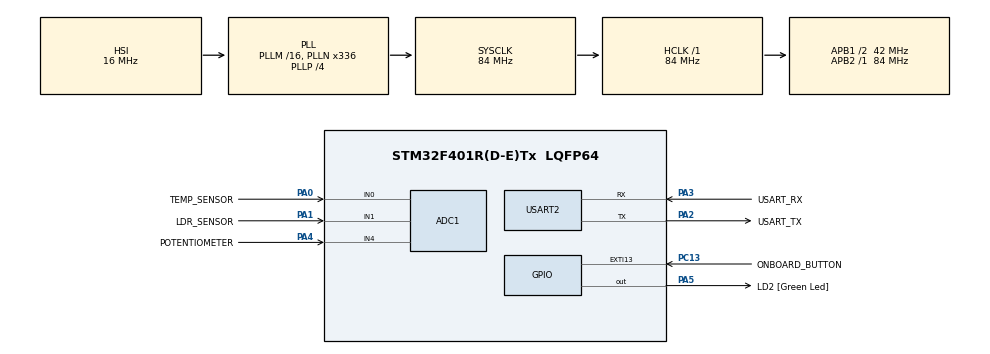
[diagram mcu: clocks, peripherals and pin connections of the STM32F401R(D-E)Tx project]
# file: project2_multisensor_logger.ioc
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ADC1.Channel-0\#ChannelRegularConversion=ADC_CHANNEL_0
ADC1.Channel-1\#ChannelRegularConversion=ADC_CHANNEL_1
ADC1.Channel-2\#ChannelRegularConversion=ADC_CHANNEL_4
ADC1.NbrOfConversion=3
ADC1.NbrOfConversionFlag=1
ADC1.Rank-0\#ChannelRegularConversion=1
ADC1.Rank-1\#ChannelRegularConversion=2
ADC1.Rank-2\#ChannelRegularConversion=3
ADC1.SamplingTime-0\#ChannelRegularConversion=ADC_SAMPLETIME_84CYCLES
ADC1.SamplingTime-1\#ChannelRegularConversion=ADC_SAMPLETIME_84CYCLES
ADC1.SamplingTime-2\#ChannelRegularConversion=ADC_SAMPLETIME_84CYCLES
ADC1.ScanConvMode=ENABLE
ADC1.master=1
Mcu.Family=STM32F4
Mcu.Name=STM32F401R(D-E)Tx
Mcu.Package=LQFP64
NVIC.EXTI15_10_IRQn=true\:0\:0\:false\:false\:true\:true\:true\:true
NVIC.PriorityGroup=NVIC_PRIORITYGROUP_4
NVIC.TIM2_IRQn=true\:0\:0\:false\:false\:true\:true\:true\:true
PA0-WKUP.GPIO_Label=TEMP_SENSOR
PA0-WKUP.Signal=ADCx_IN0
PA1.GPIO_Label=LDR_SENSOR
PA1.Signal=ADCx_IN1
PA13.GPIO_Label=TMS
PA13.Mode=Trace_Asynchronous_SW
PA13.Signal=SYS_JTMS-SWDIO
PA14.GPIO_Label=TCK
PA14.Mode=Trace_Asynchronous_SW
PA14.Signal=SYS_JTCK-SWCLK
PA2.GPIO_Label=USART_TX
PA2.GPIO_Mode=GPIO_MODE_AF_PP
PA2.GPIO_PuPd=GPIO_NOPULL
PA2.GPIO_Speed=GPIO_SPEED_FREQ_LOW
PA2.Mode=Asynchronous
PA2.Signal=USART2_TX
PA3.GPIO_Label=USART_RX
PA3.GPIO_Mode=GPIO_MODE_AF_PP
PA3.GPIO_PuPd=GPIO_NOPULL
PA3.GPIO_Speed=GPIO_SPEED_FREQ_LOW
PA3.Mode=Asynchronous
PA3.Signal=USART2_RX
PA4.GPIO_Label=POTENTIOMETER
PA4.Signal=ADCx_IN4
PA5.GPIO_Label=LD2 [Green Led]
PA5.GPIO_Mode=GPIO_MODE_OUTPUT_PP
PA5.GPIO_PuPd=GPIO_NOPULL
PA5.GPIO_Speed=GPIO_SPEED_FREQ_LOW
PA5.Signal=GPIO_Output
PB3.GPIO_Label=SWO
PB3.Mode=Trace_Asynchronous_SW
PB3.Signal=SYS_JTDO-SWO
PC13-ANTI_TAMP.GPIO_Label=ONBOARD_BUTTON
PC13-ANTI_TAMP.Signal=GPXTI13
PC14-OSC32_IN.Mode=LSE-External-Oscillator
PC14-OSC32_IN.Signal=RCC_OSC32_IN
PC15-OSC32_OUT.Mode=LSE-External-Oscillator
PC15-OSC32_OUT.Signal=RCC_OSC32_OUT
PH0\ -\ OSC_IN.Mode=HSE-External-Clock-Source
PH0\ -\ OSC_IN.Signal=RCC_OSC_IN
PH1\ -\ OSC_OUT.Mode=HSE-External-Clock-Source
PH1\ -\ OSC_OUT.Signal=RCC_OSC_OUT
ProjectManager.HeapSize=0x200
ProjectManager.StackSize=0x400
ProjectManager.TargetToolchain=STM32CubeIDE
RCC.48MHZClocksFreq_Value=48000000
RCC.AHBFreq_Value=84000000
RCC.APB1CLKDivider=RCC_HCLK_DIV2
RCC.APB1Freq_Value=42000000
RCC.APB1TimFreq_Value=84000000
RCC.APB2Freq_Value=84000000
RCC.APB2TimFreq_Value=84000000
RCC.CortexFreq_Value=84000000
RCC.HCLKFreq_Value=84000000
RCC.HSE_VALUE=8000000
RCC.HSI_VALUE=16000000
RCC.PLLN=336
RCC.PLLP=RCC_PLLP_DIV4
RCC.PLLQ=7
RCC.SYSCLKFreq_VALUE=84000000
RCC.SYSCLKSource=RCC_SYSCLKSOURCE_PLLCLK
RCC.VCOOutputFreq_Value=336000000
SH.ADCx_IN0.0=ADC1_IN0,IN0
SH.ADCx_IN1.0=ADC1_IN1,IN1
SH.ADCx_IN4.0=ADC1_IN4,IN4
TIM2.Period=2499
TIM2.Prescaler=8399
USART2.VirtualMode=VM_ASYNC
VP_TIM2_VS_ClockSourceINT.Mode=Internal
board=NUCLEO-F401RE

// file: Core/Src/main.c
/* USER CODE BEGIN Header */
/**
  ******************************************************************************
  * @file           : main.c
  * @brief          : Main program body
  ******************************************************************************
  * @attention
  *
  * Copyright (c) 2026 STMicroelectronics.
  * All rights reserved.
  *
  * This software is licensed under terms that can be found in the LICENSE file
  * in the root directory of this software component.
  * If no LICENSE file comes with this software, it is provided AS-IS.
  *
  ******************************************************************************
  */
/* USER CODE END Header */
#include "main.h"

/* USER CODE BEGIN Includes */
#include <stdio.h>
/* USER CODE END Includes */

/* USER CODE BEGIN PD */
#define FILTER_SIZE 5 // use last 5 readings
/* USER CODE END PD */

ADC_HandleTypeDef hadc1;

TIM_HandleTypeDef htim2;

UART_HandleTypeDef huart2;

/* USER CODE BEGIN PV */
volatile uint32_t temperature_raw = 0;// raw readings from ADC
volatile float temperature_c = 0.0f;
volatile uint32_t light_raw = 0;
volatile uint32_t setpoint_raw = 0;
volatile float setpoint_c = 0.0f;

uint32_t temperature_samples[FILTER_SIZE] = {0};// saved readings for averaging
uint32_t light_samples[FILTER_SIZE] = {0};
uint32_t setpoint_samples[FILTER_SIZE] = {0};

uint8_t filter_index = 0;
uint8_t filter_count = 0;

uint32_t temperature_filtered_raw = 0;
uint32_t light_filtered_raw = 0;
uint32_t setpoint_filtered_raw = 0;

float temperature_filtered_c = 0.0f;
float setpoint_filtered_c = 0.0f;

volatile uint8_t sample_rate_mode = 0;// button changes between slow, medium and fast
volatile uint32_t sample_interval_ms = 2000;
volatile uint32_t last_button_press_ms = 0;

volatile uint8_t sample_due = 1;// timer tells main loop when to sample
volatile uint8_t timer_tick_count = 0;
/* USER CODE END PV */

void SystemClock_Config(void);
static void MX_GPIO_Init(void);
static void MX_USART2_UART_Init(void);
static void MX_ADC1_Init(void);
static void MX_TIM2_Init(void);

/* USER CODE BEGIN 0 */
uint32_t moving_average(uint32_t samples[], uint8_t count)// adds readings together then divides by amount
{
    uint32_t total = 0;

    for (uint8_t i = 0; i < count; i++)
    {
        total += samples[i];
    }

    return total / count;
}
/* USER CODE END 0 */

int main(void)
{

  /* MCU Configuration--------------------------------------------------------*/

  /* Reset of all peripherals, Initializes the Flash interface and the Systick. */
  HAL_Init();

  /* Configure the system clock */
  SystemClock_Config();

  /* Initialize all configured peripherals */
  MX_GPIO_Init();
  MX_USART2_UART_Init();
  MX_ADC1_Init();
  MX_TIM2_Init();
  /* USER CODE BEGIN 2 */
  HAL_TIM_Base_Start_IT(&htim2);// start the 250 ms timer interrupt
  printf("timestamp_ms,temp_raw_c,temp_filtered_c,light_raw,light_filtered,setpoint_raw_c,setpoint_filtered_c\r\n");
  /* USER CODE END 2 */

  /* Infinite loop */
  /* USER CODE BEGIN WHILE */
  while (1)
  {
	  if (sample_due)// only read sensors when timer says it is time
	  {
	      sample_due = 0;// reset flag so this only happens once per timer request

	  HAL_ADC_Start(&hadc1);// read temp, light, then potentiometer

	  HAL_ADC_PollForConversion(&hadc1, 10);
	  temperature_raw = HAL_ADC_GetValue(&hadc1);

	  HAL_ADC_PollForConversion(&hadc1, 10);
	  light_raw = HAL_ADC_GetValue(&hadc1);

	  HAL_ADC_PollForConversion(&hadc1, 10);
	  setpoint_raw = HAL_ADC_GetValue(&hadc1);

	  setpoint_c = 15.0f + ((setpoint_raw * 20.0f) / 4095.0f);
	  temperature_c = ((temperature_raw * 3.3f / 4095.0f) - 0.5f) * 100.0f;

	  HAL_ADC_Stop(&hadc1);

	  temperature_samples[filter_index] = temperature_raw;// save new readings into the averaging arrays
	  light_samples[filter_index] = light_raw;
	  setpoint_samples[filter_index] = setpoint_raw;

	  if (filter_count < FILTER_SIZE)
	  {
	      filter_count++;
	  }

	  temperature_filtered_raw = moving_average(temperature_samples, filter_count);
	  light_filtered_raw = moving_average(light_samples, filter_count);
	  setpoint_filtered_raw = moving_average(setpoint_samples, filter_count);

	  temperature_filtered_c = ((temperature_filtered_raw * 3.3f / 4095.0f) - 0.5f) * 100.0f;
	  setpoint_filtered_c = 15.0f + ((setpoint_filtered_raw * 20.0f) / 4095.0f);

	  if (temperature_filtered_c > setpoint_filtered_c)// LED on if actual temp is above chosen setpoint
	  {
	      HAL_GPIO_WritePin(LD2_GPIO_Port, LD2_Pin, GPIO_PIN_SET);
	  }
	  else
	  {
	      HAL_GPIO_WritePin(LD2_GPIO_Port, LD2_Pin, GPIO_PIN_RESET);
	  }

	  filter_index++;

	  if (filter_index >= FILTER_SIZE)
	  {
	      filter_index = 0;
	  }
	  // send one CSV row to Tera Term
	  printf("%lu,%.1f,%.1f,%lu,%lu,%.1f,%.1f\r\n",(unsigned long)HAL_GetTick(),temperature_c,temperature_filtered_c,(unsigned long)light_raw,(unsigned long)light_filtered_raw,setpoint_c,setpoint_filtered_c);
	  }
    /* USER CODE END WHILE */

  }
}

void SystemClock_Config(void)
{
  RCC_OscInitTypeDef RCC_OscInitStruct = {0};
  RCC_ClkInitTypeDef RCC_ClkInitStruct = {0};

  /** Configure the main internal regulator output voltage
  */
  __HAL_RCC_PWR_CLK_ENABLE();
  __HAL_PWR_VOLTAGESCALING_CONFIG(PWR_REGULATOR_VOLTAGE_SCALE2);

  /** Initializes the RCC Oscillators according to the specified parameters
  * in the RCC_OscInitTypeDef structure.
  */
  RCC_OscInitStruct.OscillatorType = RCC_OSCILLATORTYPE_HSI;
  RCC_OscInitStruct.HSIState = RCC_HSI_ON;
  RCC_OscInitStruct.HSICalibrationValue = RCC_HSICALIBRATION_DEFAULT;
  RCC_OscInitStruct.PLL.PLLState = RCC_PLL_ON;
  RCC_OscInitStruct.PLL.PLLSource = RCC_PLLSOURCE_HSI;
  RCC_OscInitStruct.PLL.PLLM = 16;
  RCC_OscInitStruct.PLL.PLLN = 336;
  RCC_OscInitStruct.PLL.PLLP = RCC_PLLP_DIV4;
  RCC_OscInitStruct.PLL.PLLQ = 7;
  if (HAL_RCC_OscConfig(&RCC_OscInitStruct) != HAL_OK)
  {
    Error_Handler();
  }

  /** Initializes the CPU, AHB and APB buses clocks
  */
  RCC_ClkInitStruct.ClockType = RCC_CLOCKTYPE_HCLK|RCC_CLOCKTYPE_SYSCLK
                              |RCC_CLOCKTYPE_PCLK1|RCC_CLOCKTYPE_PCLK2;
  RCC_ClkInitStruct.SYSCLKSource = RCC_SYSCLKSOURCE_PLLCLK;
  RCC_ClkInitStruct.AHBCLKDivider = RCC_SYSCLK_DIV1;
  RCC_ClkInitStruct.APB1CLKDivider = RCC_HCLK_DIV2;
  RCC_ClkInitStruct.APB2CLKDivider = RCC_HCLK_DIV1;

  if (HAL_RCC_ClockConfig(&RCC_ClkInitStruct, FLASH_LATENCY_2) != HAL_OK)
  {
    Error_Handler();
  }
}

static void MX_ADC1_Init(void)
{

  ADC_ChannelConfTypeDef sConfig = {0};

  /** Configure the global features of the ADC (Clock, Resolution, Data Alignment and number of conversion)
  */
  hadc1.Instance = ADC1;
  hadc1.Init.ClockPrescaler = ADC_CLOCK_SYNC_PCLK_DIV4;
  hadc1.Init.Resolution = ADC_RESOLUTION_12B;
  hadc1.Init.ScanConvMode = ENABLE;
  hadc1.Init.ContinuousConvMode = DISABLE;
  hadc1.Init.DiscontinuousConvMode = DISABLE;
  hadc1.Init.ExternalTrigConvEdge = ADC_EXTERNALTRIGCONVEDGE_NONE;
  hadc1.Init.ExternalTrigConv = ADC_SOFTWARE_START;
  hadc1.Init.DataAlign = ADC_DATAALIGN_RIGHT;
  hadc1.Init.NbrOfConversion = 3;
  hadc1.Init.DMAContinuousRequests = DISABLE;
  hadc1.Init.EOCSelection = ADC_EOC_SINGLE_CONV;
  if (HAL_ADC_Init(&hadc1) != HAL_OK)
  {
    Error_Handler();
  }

  /** Configure for the selected ADC regular channel its corresponding rank in the sequencer and its sample time.
  */
  sConfig.Channel = ADC_CHANNEL_0;
  sConfig.Rank = 1;
  sConfig.SamplingTime = ADC_SAMPLETIME_84CYCLES;
  if (HAL_ADC_ConfigChannel(&hadc1, &sConfig) != HAL_OK)
  {
    Error_Handler();
  }

  /** Configure for the selected ADC regular channel its corresponding rank in the sequencer and its sample time.
  */
  sConfig.Channel = ADC_CHANNEL_1;
  sConfig.Rank = 2;
  if (HAL_ADC_ConfigChannel(&hadc1, &sConfig) != HAL_OK)
  {
    Error_Handler();
  }

  /** Configure for the selected ADC regular channel its corresponding rank in the sequencer and its sample time.
  */
  sConfig.Channel = ADC_CHANNEL_4;
  sConfig.Rank = 3;
  if (HAL_ADC_ConfigChannel(&hadc1, &sConfig) != HAL_OK)
  {
    Error_Handler();
  }

}

static void MX_TIM2_Init(void)
{

  TIM_ClockConfigTypeDef sClockSourceConfig = {0};
  TIM_MasterConfigTypeDef sMasterConfig = {0};

  htim2.Instance = TIM2;
  htim2.Init.Prescaler = 8399;
  htim2.Init.CounterMode = TIM_COUNTERMODE_UP;
  htim2.Init.Period = 2499;
  htim2.Init.ClockDivision = TIM_CLOCKDIVISION_DIV1;
  htim2.Init.AutoReloadPreload = TIM_AUTORELOAD_PRELOAD_DISABLE;
  if (HAL_TIM_Base_Init(&htim2) != HAL_OK)
  {
    Error_Handler();
  }
  sClockSourceConfig.ClockSource = TIM_CLOCKSOURCE_INTERNAL;
  if (HAL_TIM_ConfigClockSource(&htim2, &sClockSourceConfig) != HAL_OK)
  {
    Error_Handler();
  }
  sMasterConfig.MasterOutputTrigger = TIM_TRGO_RESET;
  sMasterConfig.MasterSlaveMode = TIM_MASTERSLAVEMODE_DISABLE;
  if (HAL_TIMEx_MasterConfigSynchronization(&htim2, &sMasterConfig) != HAL_OK)
  {
    Error_Handler();
  }

}

static void MX_USART2_UART_Init(void)
{

  huart2.Instance = USART2;
  huart2.Init.BaudRate = 115200;
  huart2.Init.WordLength = UART_WORDLENGTH_8B;
  huart2.Init.StopBits = UART_STOPBITS_1;
  huart2.Init.Parity = UART_PARITY_NONE;
  huart2.Init.Mode = UART_MODE_TX_RX;
  huart2.Init.HwFlowCtl = UART_HWCONTROL_NONE;
  huart2.Init.OverSampling = UART_OVERSAMPLING_16;
  if (HAL_UART_Init(&huart2) != HAL_OK)
  {
    Error_Handler();
  }

}

static void MX_GPIO_Init(void)
{
  GPIO_InitTypeDef GPIO_InitStruct = {0};

  /* GPIO Ports Clock Enable */
  __HAL_RCC_GPIOC_CLK_ENABLE();
  __HAL_RCC_GPIOH_CLK_ENABLE();
  __HAL_RCC_GPIOA_CLK_ENABLE();
  __HAL_RCC_GPIOB_CLK_ENABLE();

  /*Configure GPIO pin Output Level */
  HAL_GPIO_WritePin(LD2_GPIO_Port, LD2_Pin, GPIO_PIN_RESET);

  /*Configure GPIO pin : ONBOARD_BUTTON_Pin */
  GPIO_InitStruct.Pin = ONBOARD_BUTTON_Pin;
  GPIO_InitStruct.Mode = GPIO_MODE_IT_RISING;
  GPIO_InitStruct.Pull = GPIO_NOPULL;
  HAL_GPIO_Init(ONBOARD_BUTTON_GPIO_Port, &GPIO_InitStruct);

  /*Configure GPIO pin : LD2_Pin */
  GPIO_InitStruct.Pin = LD2_Pin;
  GPIO_InitStruct.Mode = GPIO_MODE_OUTPUT_PP;
  GPIO_InitStruct.Pull = GPIO_NOPULL;
  GPIO_InitStruct.Speed = GPIO_SPEED_FREQ_LOW;
  HAL_GPIO_Init(LD2_GPIO_Port, &GPIO_InitStruct);

  /* EXTI interrupt init*/
  HAL_NVIC_SetPriority(EXTI15_10_IRQn, 0, 0);
  HAL_NVIC_EnableIRQ(EXTI15_10_IRQn);

}

/* USER CODE BEGIN 4 */
int _write(int file, char *ptr, int len)// lets printf send text through USART2
{
    HAL_UART_Transmit(&huart2, (uint8_t *)ptr, (uint16_t)len, HAL_MAX_DELAY);
    return len;
}
uint8_t button_press_is_valid(void)// ignore fake extra button presses within 200 ms
{
    uint32_t now = HAL_GetTick();

    if ((now - last_button_press_ms) > 200)
    {
        last_button_press_ms = now;
        return 1;
    }

    return 0;
}

void cycle_sample_rate(void)// change slow -> medium -> fast -> slow
{
    sample_rate_mode++;

    if (sample_rate_mode > 2)
    {
        sample_rate_mode = 0;
    }

    if (sample_rate_mode == 0)
    {
        sample_interval_ms = 2000;
    }
    else if (sample_rate_mode == 1)
    {
        sample_interval_ms = 1000;
    }
    else
    {
        sample_interval_ms = 250;
    }
    timer_tick_count = 0;
}

void HAL_GPIO_EXTI_Callback(uint16_t GPIO_Pin)// runs when the onboard button is pressed
{
    if (GPIO_Pin == GPIO_PIN_13)
    {
        if (button_press_is_valid())
        {
            cycle_sample_rate();
        }
    }
}

void HAL_TIM_PeriodElapsedCallback(TIM_HandleTypeDef *htim)// runs every 250 ms and requests a sample when needed
{
    if (htim->Instance == TIM2)
    {
        timer_tick_count++;

        if (timer_tick_count >= (sample_interval_ms / 250))
        {
            sample_due = 1;
            timer_tick_count = 0;
        }
    }
}
/* USER CODE END 4 */

void Error_Handler(void)
{
  __disable_irq();
  while (1)
  {
  }
}
